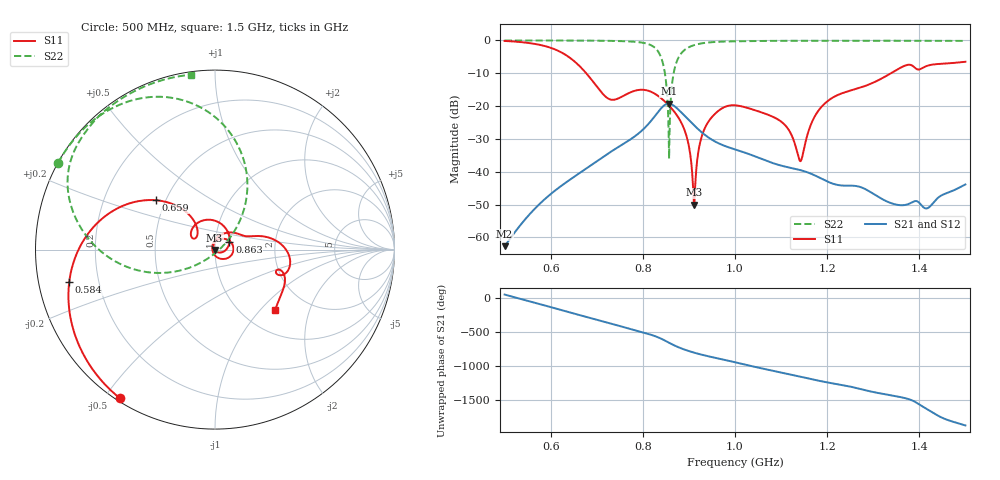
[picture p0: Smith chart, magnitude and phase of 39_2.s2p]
! TOUCHSTONE file generated by CST MICROWAVE STUDIO
! Date and time: Fri Oct  2 16:18:59 2020
! Project name: Scenario_1_Free_Space_out_of_line.cst
! Parameters = {Lambda=346.42; Step_1=17.321; dy1=-311.318; dx1=346; L_HA=400; MT=2.54; Rad_Dielectric=30; Rad_Lower=7.3; Rad_Upper=30; a_HA=580; a_WG=246; b_HA=500; b_WG=121; c_HA=0; c_WG=187; d_feed=85; h_feed=15; h_lower=18; h_upper=40}
! Header version: 2018
! Port assignment regex: !\s*Touchstone port\s*([0-9]+)\s*=\s*(CST MWS port|CST DS port)\s*([0-9]+|Zmin|Zmax)\s*\(\"(.*)\"\)(\s*mode\s*([0-9]+))?.*
! Touchstone port assignment:
! Touchstone port 1 = CST MWS port 1 ("")
! Touchstone port 2 = CST MWS port 2 ("")
# GHz S DB R 50
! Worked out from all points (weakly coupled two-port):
!   1003 points, 500 MHz to 1.5 GHz, reference 50 ohm
!   highest |S21| = -19.26 dB at 856 MHz (marker M1); lowest = -62.7 dB at 500 MHz (marker M2)
!   lowest |S11| = -50.0 dB at 911 MHz (marker M3), VSWR 1.01, Z = 49.8 - j0.223 ohm
!   |S11| at or under -10 dB: 677.2 MHz to 1.338 GHz (661.2 MHz wide, 65.6 % of centre)
!   |S22| runs from -36.0 to 0.0 dB; largest |S21 - S12| = 2.4e-05
!   S11 on the Smith chart (normalised r, x): 500 MHz: 0.01, -0.55; 584 MHz: 0.09, -0.11; 659 MHz: 0.44, +0.30; 863 MHz: 1.17, +0.10; 1.5 GHz: 1.40, -1.21
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0.5  -0.15 -122.6  -62.65 51.0  -62.65 51.0  -0.01 151.1
0.584  -1.59 -167.3  -48.74 -103.0  -48.74 -103.0  -0.02 145.3
0.659  -7.32 140.3  -40.74 116.8  -40.74 116.8  -0.04 139.1
0.667  -8.43 135.6  -39.97 102.3  -39.97 102.3  -0.04 138.3
0.728  -17.91 141.0  -34.13 -9.2  -34.13 -9.2  -0.13 131.0
0.793  -15.05 127.7  -28.05 -129.0  -28.05 -129.0  -0.56 115.8
0.834  -16.98 71.3  -21.62 141.7  -21.62 141.7  -3.55 83.4
0.846  -18.36 53.4  -19.82 103.9  -19.82 103.9  -8.49 61.5
0.856  -19.73 38.4  -19.26 68.2  -19.26 68.2  -28.64 17.5
0.863  -20.81 27.6  -19.52 43.6  -19.52 43.6  -13.80 -147.2
0.873  -22.61 11.7  -20.52 11.6  -20.52 11.6  -6.65 -166.4
0.894  -28.78 -26.3  -23.43 -43.5  -23.43 -43.5  -2.55 171.8
0.911  -50.02 -134.9  -25.83 -79.6  -25.83 -79.6  -1.44 162.1
0.937  -26.00 81.1  -29.01 -125.1  -29.01 -125.1  -0.70 152.6
1  -19.76 -0.4  -33.19 139.5  -33.19 139.5  -0.27 140.1
1.102  -24.92 -61.6  -38.19 -13.0  -38.19 -13.0  -0.12 129.5
1.141  -36.72 -162.7  -39.46 -69.8  -39.46 -69.8  -0.10 126.2
1.167  -24.86 87.8  -40.71 -109.7  -40.70 -109.7  -0.10 124.1
1.21  -17.58 46.4  -43.51 -167.3  -43.51 -167.3  -0.09 120.8
1.334  -10.36 13.0  -49.29 20.5  -49.29 20.5  -0.09 111.4
1.417  -7.74 -20.0  -51.13 171.8  -51.13 171.8  -0.11 104.9
1.5  -6.50 -45.0  -43.86 -66.3  -43.88 -66.4  -0.14 97.9
